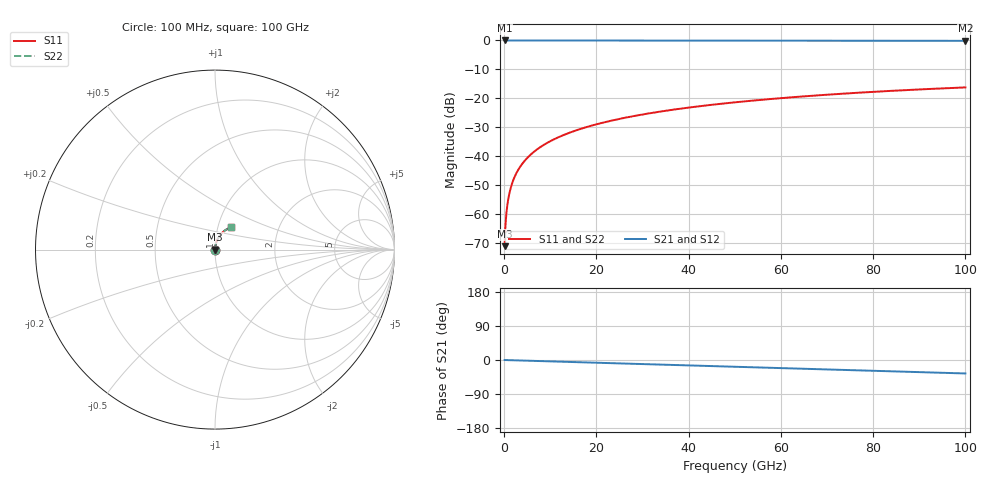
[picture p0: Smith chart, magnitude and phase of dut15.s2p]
! Touchstone file exported from HFSS 2026.1.0
!  File:  C:/ffzhzh/LocalFiles/Ansys_Project_Files/temp_train_TSV_15_1783504319_44152.aedt
!  Generated:  05:53:20 PM Jul  8, 2026
!  Design:  TSV
!  Project:  temp_train_TSV_15_1783504319_44152
! Variables:
!  h_bsmrdl = 2um
!  h_ox = 20um
!  h_rdl = 5um
!  h_sub = 66.23um
!  h_tmrdl = 5um
!  h_tsv = 66.23um
!  h_via = 3um
!  l_bsmrdl = 300um
!  l_sub = 414.92um
!  l_tmrdl = 200um
!  m_sub = 200um
!  pitch = 43.27um
!  r_tsv = 7.46um
!  s_tmrdl = 10um
!  w_bsmrdl = 18um
!  w_sub = 500um
!  w_tmrdl = 12um
!  x_tsv_center1 = 206um
!  x_tsv_center2 = 524um
!  x_tsv_center3 = 736um
!  x_tsv_center4 = 1054um
!  x_tsv_center5 = 1266um
!  x_tsv_center6 = 1584um
# GHz S MA R 50.000000
! Terminal data exported
! Port[1] = TSV1_1_T1
! Port[2] = TSV1_1_T2
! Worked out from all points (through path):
!   1000 points, 100 MHz to 100 GHz, reference 50 ohm
!   highest |S21| = 0.00 dB at 100 MHz (marker M1); lowest = -0.1 dB at 100 GHz (marker M2)
!   group delay of S21, straight-line fit = 986 fs
!   lowest |S11| = -71.2 dB at 100 MHz (marker M3), VSWR 1.00, Z = 50 + j0.0215 ohm
!   |S11| at or under -10 dB: start of sweep to end of sweep
!   |S22| runs from -71.2 to -16.3 dB; largest |S21 - S12| = 4.3e-15
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0.1  0.0002754 51.3  0.9998 -0.0  0.9998 -0.0  0.0002754 51.3
! Gamma 0 0 0 0
! Port Impedance 50 0 50 0
0.4  0.0008535 75.3  0.9998 -0.2  0.9998 -0.2  0.0008535 75.3
0.7  0.001429 79.5  0.9997 -0.3  0.9997 -0.3  0.001429 79.5
0.8  0.00162 80.3  0.9997 -0.3  0.9997 -0.3  0.00162 80.3
1.1  0.00219 81.7  0.9997 -0.4  0.9997 -0.4  0.00219 81.7
1.4  0.002755 82.5  0.9997 -0.5  0.9997 -0.5  0.002755 82.5
1.9  0.003685 83.2  0.9996 -0.7  0.9996 -0.7  0.003685 83.2
2.4  0.0046 83.5  0.9995 -0.9  0.9995 -0.9  0.0046 83.5
3  0.005683 83.7  0.9995 -1.1  0.9995 -1.1  0.005683 83.7
3.8  0.007114 83.9  0.9994 -1.4  0.9994 -1.4  0.007114 83.9
4.8  0.008889 84.0  0.9993 -1.7  0.9993 -1.7  0.008889 84.0
6  0.01101 84.0  0.9992 -2.2  0.9992 -2.2  0.01101 84.0
8.8  0.01594 83.6  0.999 -3.2  0.999 -3.2  0.01594 83.7
12.4  0.02223 82.8  0.9987 -4.5  0.9987 -4.5  0.02223 82.8
16.8  0.02985 81.6  0.9983 -6.1  0.9983 -6.1  0.02985 81.6
24.2  0.04253 79.3  0.9976 -8.7  0.9976 -8.7  0.04253 79.3
33.4  0.05801 76.3  0.9966 -12.0  0.9966 -12.0  0.05801 76.3
41.2  0.07084 73.7  0.9956 -14.8  0.9956 -14.8  0.07084 73.7
50.1  0.08508 70.7  0.9943 -17.9  0.9943 -17.9  0.08508 70.7
66.7  0.1103 65.0  0.9915 -23.8  0.9915 -23.8  0.1103 65.0
83.4  0.1335 59.2  0.9883 -29.7  0.9883 -29.7  0.1335 59.2
100  0.154 53.5  0.9851 -35.5  0.9851 -35.5  0.154 53.5
